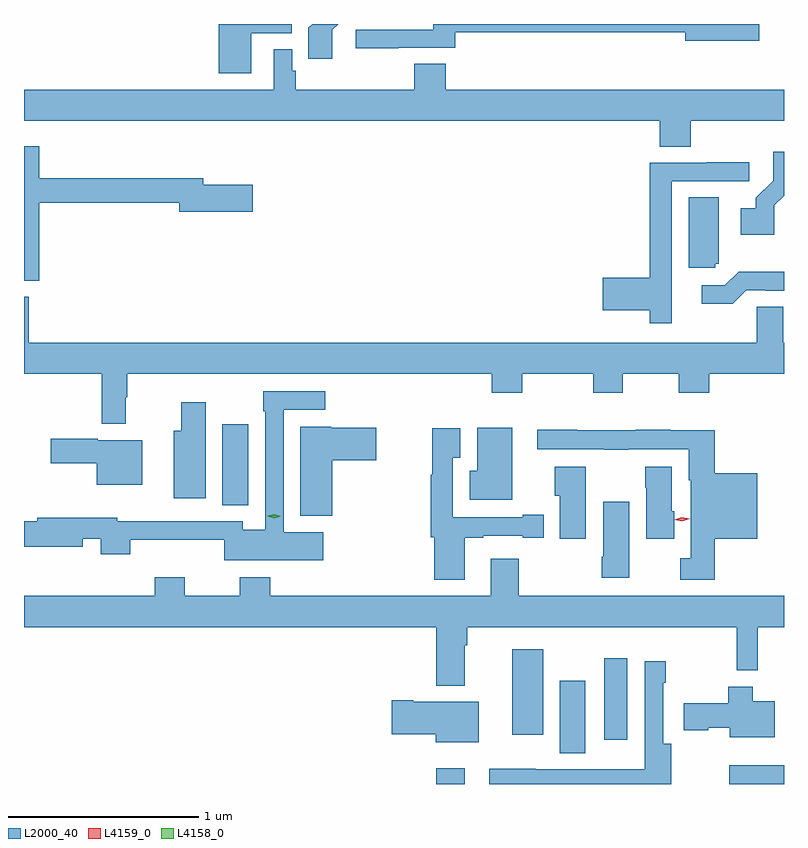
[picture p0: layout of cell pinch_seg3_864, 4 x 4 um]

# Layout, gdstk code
import gdstk
lib = gdstk.Library(unit=1e-6, precision=1e-09)
def R(c, l, rs):  # rectangles x0, y0, x1, y1
    for r in rs: c.add(gdstk.rectangle(r[:2], r[2:], *l))
def P(c, l, *ps):  # polygons
    for p in ps: c.add(gdstk.Polygon(p, *l))
L2000_40 = (2000, 40)
L4158_0 = (4158, 0)
L4159_0 = (4159, 0)

pinch_seg3_864 = lib.new_cell('pinch_seg3_864')
R(pinch_seg3_864, L2000_40, [(701.717,682.774,701.869,682.858), (703.26,682.774,703.548,682.873), (702.368,682.937,702.502,683.317), (702.602,683.007,702.724,683.437), (702.119,683.034,702.28,683.482), (700.592,684.241,700.729,684.667)])
P(pinch_seg3_864, L2000_40, [(700.744,686.726),(700.957,686.726),(700.957,686.774),(700.574,686.774),(700.574,686.514),(700.744,686.514)],
  [(701.519,686.649),(701.819,686.649),(701.819,686.73),(703.028,686.73),(703.028,686.687),(703.417,686.687),(703.417,686.774),(701.703,686.774),(701.703,686.745),(701.295,686.745),(701.295,686.647),(701.519,686.647)],
  [(701.17,686.743),(701.201,686.774),(701.064,686.774),(701.044,686.754),(701.044,686.592),(701.17,686.592)],
  [(703.058,686.264),(703.548,686.264),(703.548,686.428),(701.768,686.428),(701.768,686.564),(701.603,686.564),(701.603,686.428),(700.979,686.428),(700.979,686.529),(700.959,686.529),(700.959,686.641),(700.863,686.641),(700.863,686.428),(699.548,686.428),(699.548,686.264),(702.893,686.264),(702.893,686.128),(703.058,686.128)],
  [(699.629,685.834),(700.364,685.834),(700.364,685.787),(700.753,685.787),(700.753,685.929),(700.492,685.929),(700.492,685.963),(699.629,685.963),(699.629,686.131),(699.548,686.131),(699.548,685.424),(699.629,685.424)],
  [(703.497,685.819),(703.548,685.87),(703.548,686.101),(703.491,686.101),(703.491,685.949),(703.4,685.859),(703.4,685.804),(703.32,685.804),(703.32,685.664),(703.497,685.664)],
  [(702.958,685.422),(702.957,685.422),(702.957,685.947),(703.366,685.947),(703.366,686.046),(703.141,686.046),(703.141,686.043),(702.841,686.043),(702.841,685.439),(702.594,685.439),(702.594,685.268),(702.841,685.268),(702.841,685.2),(702.958,685.2)],
  [(703.185,685.512),(703.204,685.512),(703.204,685.861),(703.046,685.861),(703.046,685.491),(703.185,685.491)],
  [(703.35,685.374),(703.45,685.374),(703.45,685.371),(703.548,685.371),(703.548,685.471),(703.309,685.471),(703.236,685.398),(703.116,685.398),(703.116,685.301),(703.277,685.301)],
  [(700.084,684.809),(700.091,684.809),(700.091,684.932),(702.011,684.932),(702.011,684.833),(702.171,684.833),(702.171,684.932),(702.544,684.932),(702.544,684.833),(702.699,684.833),(702.699,684.932),(702.994,684.932),(702.994,684.833),(703.154,684.833),(703.154,684.932),(703.548,684.932),(703.548,685.096),(703.543,685.096),(703.543,685.286),(703.404,685.286),(703.404,685.096),(699.572,685.096),(699.572,685.339),(699.548,685.339),(699.548,684.932),(699.956,684.932),(699.956,684.669),(700.084,684.669)],
  [(701.122,684.1),(700.914,684.1),(700.914,684.744),(701.134,684.744),(701.134,684.84),(700.806,684.84),(700.806,684.737),(700.818,684.737),(700.818,684.112),(700.698,684.112),(700.698,684.156),(700.286,684.156),(700.286,684.158),(700.038,684.158),(700.038,684.175),(699.617,684.175),(699.617,684.158),(699.548,684.158),(699.548,684.023),(699.856,684.023),(699.856,684.066),(699.953,684.066),(699.953,683.984),(700.106,683.984),(700.106,684.059),(700.602,684.059),(700.602,683.951),(701.122,683.951)],
  [(700.504,684.784),(700.375,684.784),(700.375,684.634),(700.337,684.634),(700.337,684.278),(700.504,684.278)],
  [(701.17,684.479),(701.401,684.479),(701.401,684.649),(701.166,684.649),(701.166,684.655),(701.003,684.655),(701.003,684.185),(701.17,684.185)],
  [(702.118,684.649),(701.933,684.649),(701.933,684.422),(701.894,684.422),(701.894,684.269),(702.118,684.269)],
  [(701.869,684.069),(701.965,684.069),(701.965,684.081),(702.173,684.081),(702.173,684.069),(702.283,684.069),(702.283,684.19),(702.173,684.19),(702.173,684.177),(701.805,684.177),(701.805,684.49),(701.845,684.49),(701.845,684.646),(701.697,684.646),(701.697,684.401),(701.689,684.401),(701.689,684.074),(701.708,684.074),(701.708,683.85),(701.869,683.85)],
  [(703.184,684.065),(703.408,684.065),(703.408,684.409),(703.184,684.409),(703.184,684.635),(702.95,684.635),(702.95,684.638),(702.767,684.638),(702.767,684.635),(702.461,684.635),(702.461,684.638),(702.249,684.638),(702.249,684.537),(702.601,684.537),(702.601,684.532),(702.728,684.532),(702.728,684.537),(703.046,684.537),(703.046,684.372),(703.058,684.372),(703.058,683.962),(703.002,683.962),(703.002,683.849),(703.184,683.849)],
  [(700.171,684.583),(699.936,684.583),(699.936,684.59),(699.69,684.59),(699.69,684.461),(699.932,684.461),(699.932,684.35),(700.171,684.35)],
  [(702.505,684.445),(702.341,684.445),(702.341,684.291),(702.368,684.291),(702.368,684.066),(702.505,684.066)],
  [(702.97,684.21),(702.958,684.21),(702.958,684.445),(702.817,684.445),(702.817,684.332),(702.824,684.332),(702.824,684.066),(702.97,684.066)],
  [(702.733,684.259),(702.596,684.259),(702.596,683.971),(702.589,683.971),(702.589,683.859),(702.733,683.859)],
  [(701.869,683.504),(701.882,683.504),(701.882,683.6),(703.299,683.6),(703.299,683.372),(703.409,683.372),(703.409,683.6),(703.548,683.6),(703.548,683.764),(702.153,683.764),(702.153,683.959),(702.005,683.959),(702.005,683.764),(700.844,683.764),(700.844,683.863),(700.684,683.863),(700.684,683.764),(700.395,683.764),(700.395,683.863),(700.235,683.863),(700.235,683.764),(699.548,683.764),(699.548,683.6),(701.717,683.6),(701.717,683.291),(701.869,683.291)],
  [(702.954,682.987),(702.912,682.987),(702.912,683.306),(702.925,683.306),(702.925,683.419),(702.816,683.419),(702.816,682.852),(702.613,682.852),(702.613,682.851),(702.241,682.851),(702.241,682.853),(701.997,682.853),(701.997,682.774),(702.954,682.774)],
  [(703.498,683.209),(703.384,683.209),(703.384,683.287),(703.255,683.287),(703.255,683.199),(703.02,683.199),(703.02,683.057),(703.149,683.057),(703.149,683.069),(703.262,683.069),(703.262,683.021),(703.498,683.021)],
  [(701.941,683.206),(701.596,683.206),(701.596,683.214),(701.484,683.214),(701.484,683.036),(701.714,683.036),(701.714,682.994),(701.941,682.994)])
P(pinch_seg3_864, L4158_0, [(700.865,684.174),(700.83,684.184),(700.83,684.185),(700.83,684.185),(700.865,684.194),(700.9,684.184),(700.9,684.184),(700.9,684.184)])
P(pinch_seg3_864, L4159_0, [(703.012,684.158),(702.971,684.166),(702.971,684.166),(702.971,684.166),(703.011,684.178),(703.052,684.17),(703.052,684.169),(703.052,684.169)])

lib.write_gds('pinch_seg3_864.gds')
